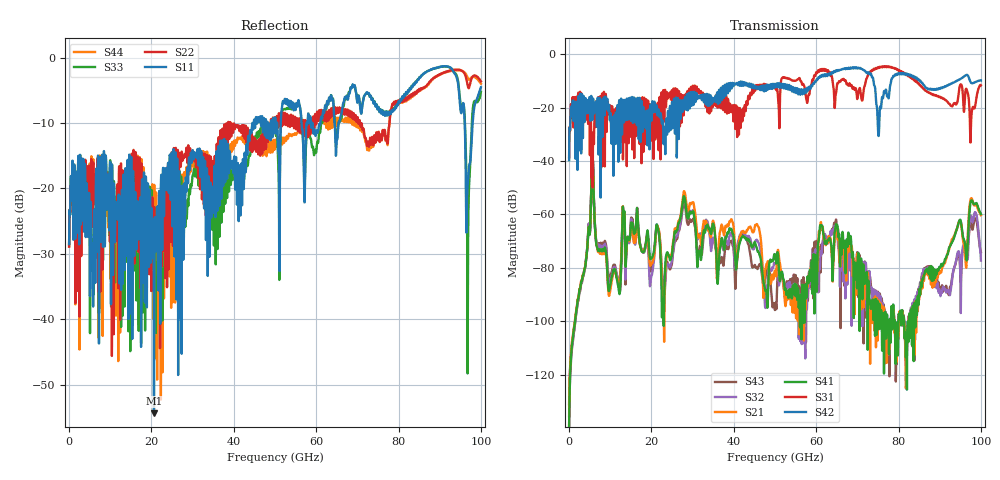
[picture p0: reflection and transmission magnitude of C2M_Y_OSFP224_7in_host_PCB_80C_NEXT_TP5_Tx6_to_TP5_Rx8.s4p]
# GHz S RI R 45
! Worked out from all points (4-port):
!   4000 points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, 25 MHz to 100 GHz, reference 45 ohm
!   strongest paths, dB at 25 MHz, 25.02 GHz, 50.02 GHz, 75.03 GHz, 100 GHz:
!     S42: -39.7, -17.9, -11.1, -28.4, -9.8
!     S31: -38.7, -14.2, -12.1, -5.0, -11.6
!     S41: -139.3, -74.7, -75.2, -95.0, -59.9
!     S21: -139.6, -74.0, -81.0, -97.1, -60.3
!     S32: -135.6, -77.1, -78.5, -96.0, -77.3
!     S43: -131.1, -77.9, -95.6, -89.1, -74.1
!   lowest |S11| = -54.4 dB at 20.62 GHz (marker M1), VSWR 1.00, Z = 45 - j0.169 ohm
!   |S11| at or under -10 dB: start of sweep to 44.52 GHz; 59.09 GHz to 61.04 GHz (1.955 GHz wide, 3.26 % of centre); 96.08 GHz to 98 GHz (1.927 GHz wide, 1.99 % of centre)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
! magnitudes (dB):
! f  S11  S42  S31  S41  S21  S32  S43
! 25 MHz  -28.5  -39.7  -38.7  -139.3  -139.6  -135.6  -131.1
! 5.725 GHz  -32.4  -19.3  -39.6  -40.9  -40.9  -40.8  -40.8
! 9.7 GHz  -22.8  -19.0  -21.2  -88.7  -90.5  -85.0  -83.4
! 20.62 GHz  -54.4  -19.0  -26.0  -73.8  -75.8  -77.2  -74.9
! 27.98 GHz  -19.4  -20.5  -15.5  -53.3  -51.4  -53.3  -55.3
! 49.02 GHz  -11.0  -11.3  -12.3  -77.4  -85.8  -81.0  -88.0
! 100 GHz  -4.6  -9.8  -11.6  -59.9  -60.3  -77.3  -74.1
